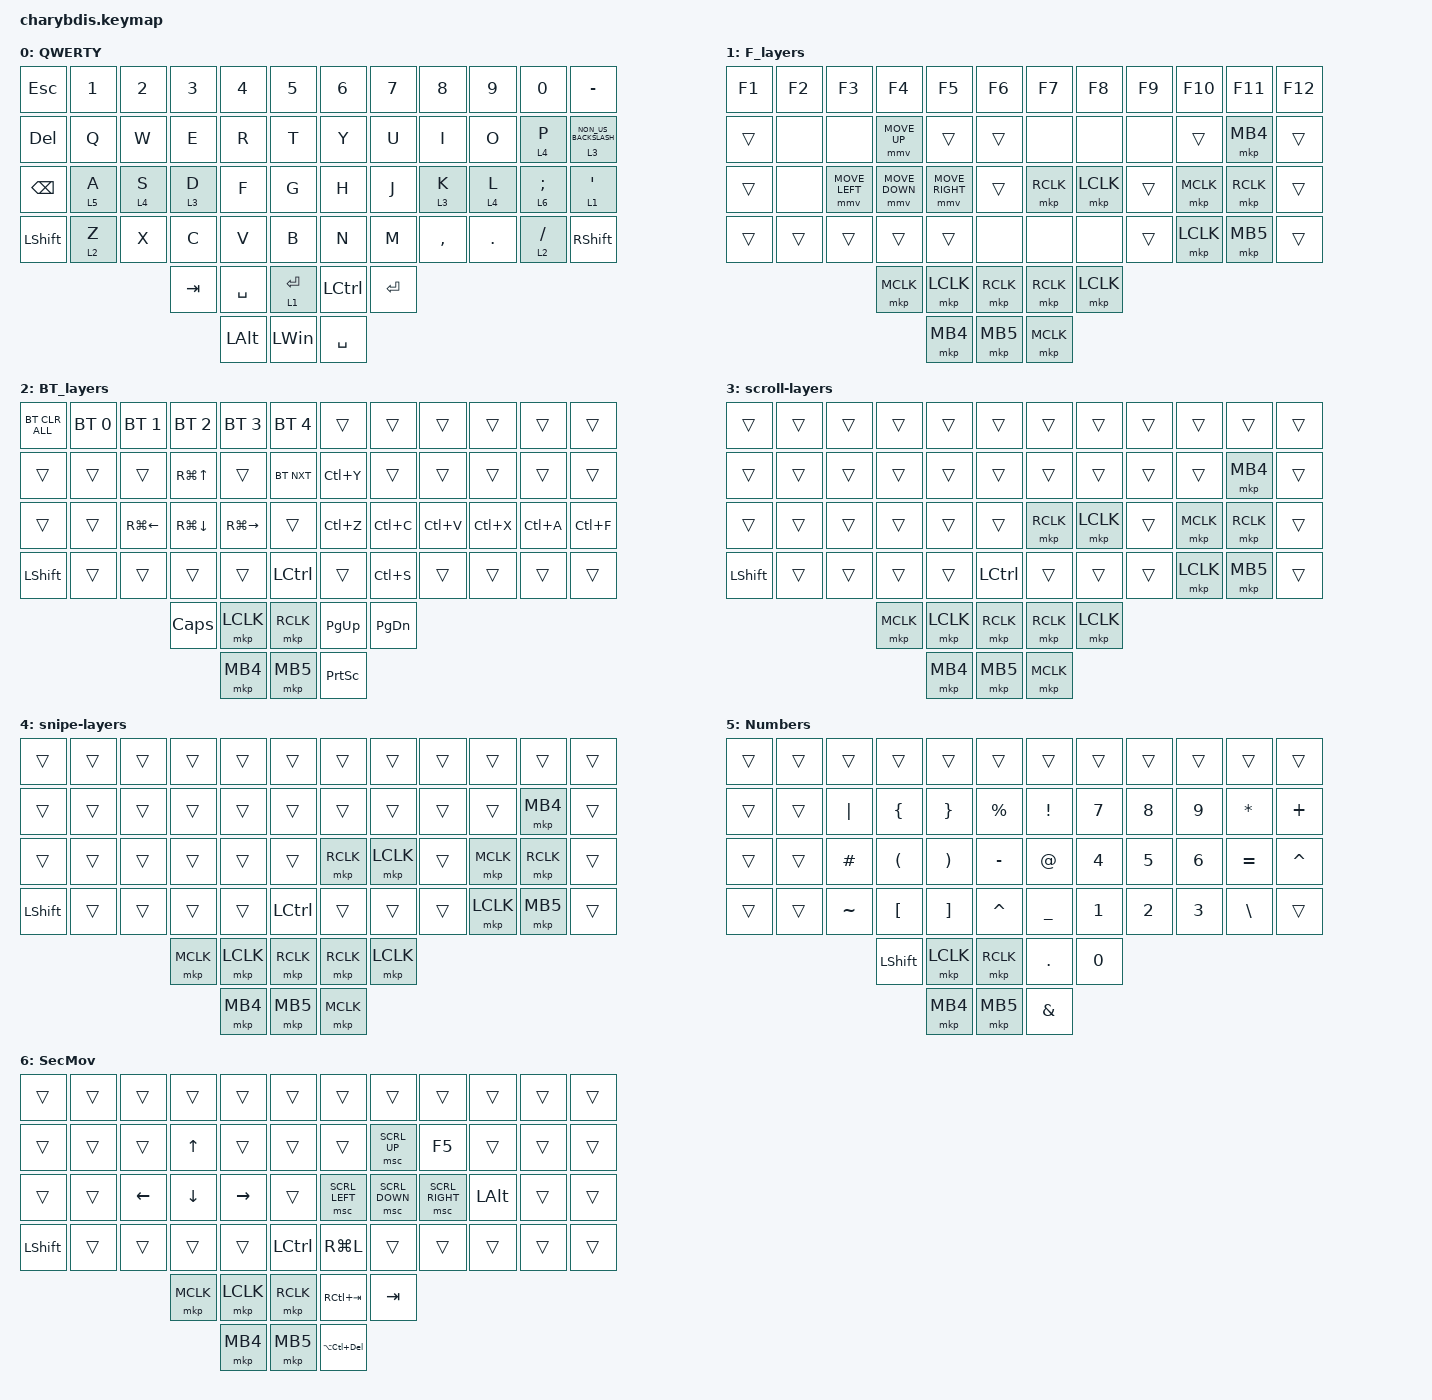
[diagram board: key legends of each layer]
#include <behaviors.dtsi>
#include <dt-bindings/zmk/bt.h>
#include <dt-bindings/zmk/keys.h>
#include <dt-bindings/zmk/pointing.h>

&lt {
    tapping-term-ms = <200>;
    flavor = "balanced";
    quick-tap-ms = <150>;
};

/ {
    keymap {
        compatible = "zmk,keymap";

        QWERTY {
            bindings = <
&kp ESC         &kp N1   &kp N2   &kp N3   &kp N4           &kp N5          &kp N6            &kp N7     &kp N8     &kp N9   &kp N0           &kp MINUS
&kp DEL         &kp Q    &kp W    &kp E    &kp R            &kp T           &kp Y             &kp U      &kp I      &kp O    &lt 4 P          &lt 3 NON_US_BACKSLASH
&kp BACKSPACE   &lt 5 A  &lt 4 S  &lt 3 D  &kp F            &kp G           &kp H             &kp J      &lt 3 K    &lt 4 L  &lt 6 SEMICOLON  &lt 1 SQT
&kp LEFT_SHIFT  &lt 2 Z  &kp X    &kp C    &kp V            &kp B           &kp N             &kp M      &kp COMMA  &kp DOT  &lt 2 SLASH      &kp RIGHT_SHIFT
                                  &kp TAB  &kp SPACE        &lt 1 ENTER     &kp LEFT_CONTROL  &kp ENTER
                                           &kp LEFT_ALT  &kp LEFT_WIN    &kp SPACE
            >;
        };

        F_layers {
            bindings = <
&kp F1  &kp F2  &kp F3          &kp F4          &kp F5           &kp F6       &kp F7     &kp F8     &kp F9  &kp F10    &kp F11    &kp F12
&trans  &none   &none           &mmv MOVE_UP    &trans           &trans       &none      &none      &none   &trans     &mkp MB4   &trans
&trans  &none   &mmv MOVE_LEFT  &mmv MOVE_DOWN  &mmv MOVE_RIGHT  &trans       &mkp RCLK  &mkp LCLK  &trans  &mkp MCLK  &mkp RCLK  &trans
&trans  &trans  &trans          &trans          &trans           &none        &none      &none      &trans  &mkp LCLK  &mkp MB5   &trans
                                &mkp MCLK       &mkp LCLK        &mkp RCLK    &mkp RCLK  &mkp LCLK
                                                &mkp MB4         &mkp MB5     &mkp MCLK
            >;
        };

        BT_layers {
            bindings = <
&bt BT_CLR_ALL  &bt BT_SEL 0  &bt BT_SEL 1  &bt BT_SEL 2      &bt BT_SEL 3   &bt BT_SEL 4    &trans           &trans         &trans     &trans     &trans     &trans
&trans          &trans        &trans        &kp RG(UP_ARROW)  &trans         &bt BT_NXT      &kp LC(Y)        &trans         &trans     &trans     &trans     &trans
&trans          &trans        &kp RG(LEFT)  &kp RG(DOWN)      &kp RG(RIGHT)  &trans          &kp LC(Z)        &kp LC(C)      &kp LC(V)  &kp LC(X)  &kp LC(A)  &kp LC(F)
&kp LEFT_SHIFT  &trans  &trans  &trans     &trans     &kp LEFT_CONTROL          &trans           &kp LC(S)      &trans     &trans     &trans     &trans
                                            &kp CAPS          &mkp LCLK      &mkp RCLK       &kp PAGE_UP      &kp PAGE_DOWN
                                                              &mkp MB4       &mkp MB5        &kp PRINTSCREEN
            >;
        };

        scroll-layers {
            bindings = <
&trans  &trans  &trans  &trans     &trans     &trans       &trans     &trans     &trans  &trans     &trans     &trans
&trans  &trans  &trans  &trans     &trans     &trans       &trans     &trans     &trans  &trans     &mkp MB4   &trans
&trans  &trans  &trans  &trans     &trans     &trans       &mkp RCLK  &mkp LCLK  &trans  &mkp MCLK  &mkp RCLK  &trans
&kp LEFT_SHIFT  &trans  &trans  &trans     &trans     &kp LEFT_CONTROL       &trans     &trans     &trans  &mkp LCLK  &mkp MB5   &trans
                        &mkp MCLK  &mkp LCLK  &mkp RCLK    &mkp RCLK  &mkp LCLK
                                   &mkp MB4   &mkp MB5     &mkp MCLK
            >;
        };

        snipe-layers {
            bindings = <
&trans  &trans  &trans  &trans     &trans     &trans       &trans     &trans     &trans  &trans     &trans     &trans
&trans  &trans  &trans  &trans     &trans     &trans       &trans     &trans     &trans  &trans     &mkp MB4   &trans
&trans  &trans  &trans  &trans     &trans     &trans       &mkp RCLK  &mkp LCLK  &trans  &mkp MCLK  &mkp RCLK  &trans
&kp LEFT_SHIFT  &trans  &trans  &trans     &trans     &kp LEFT_CONTROL       &trans     &trans     &trans  &mkp LCLK  &mkp MB5   &trans
                        &mkp MCLK  &mkp LCLK  &mkp RCLK    &mkp RCLK  &mkp LCLK
                                   &mkp MB4   &mkp MB5     &mkp MCLK
            >;
        };

        Numbers {
            bindings = <
&trans  &trans  &trans     &trans                &trans                 &trans         &trans           &trans        &trans        &trans        &trans         &trans
&trans  &trans  &kp PIPE   &kp LEFT_BRACE        &kp RIGHT_BRACE        &kp PERCENT    &kp EXCLAMATION  &kp NUMBER_7  &kp NUMBER_8  &kp NUMBER_9  &kp ASTERISK   &kp PLUS
&trans  &trans  &kp HASH   &kp LEFT_PARENTHESIS  &kp RIGHT_PARENTHESIS  &kp MINUS      &kp AT_SIGN      &kp NUMBER_4  &kp N5        &kp NUMBER_6  &kp EQUAL      &kp CARET
&trans  &trans  &kp TILDE  &kp LEFT_BRACKET      &kp RIGHT_BRACKET      &kp CARET      &kp UNDER        &kp NUMBER_1  &kp NUMBER_2  &kp NUMBER_3  &kp BACKSLASH  &trans
                           &kp LEFT_SHIFT        &mkp LCLK              &mkp RCLK      &kp PERIOD       &kp N0
                                                 &mkp MB4               &mkp MB5       &kp AMPS
            >;
        };

        SecMov {
            bindings = <
&trans  &trans  &trans          &trans        &trans     &trans       &trans           &trans          &trans           &trans  &trans  &trans
&trans  &trans  &trans          &kp UP_ARROW  &trans     &trans       &trans           &msc SCRL_UP    &kp F5           &trans  &trans  &trans
&trans  &trans  &kp LEFT_ARROW  &kp DOWN      &kp RIGHT  &trans       &msc SCRL_LEFT   &msc SCRL_DOWN  &msc SCRL_RIGHT  &kp LEFT_ALT  &trans  &trans
&kp LEFT_SHIFT  &trans  &trans  &trans     &trans     &kp LEFT_CONTROL      &kp RG(L)        &trans          &trans           &trans  &trans  &trans
                                &mkp MCLK     &mkp LCLK  &mkp RCLK    &kp RC(TAB)      &kp TAB
                                              &mkp MB4   &mkp MB5     &kp LA(LC(DEL))
            >;
        };
    };
};
